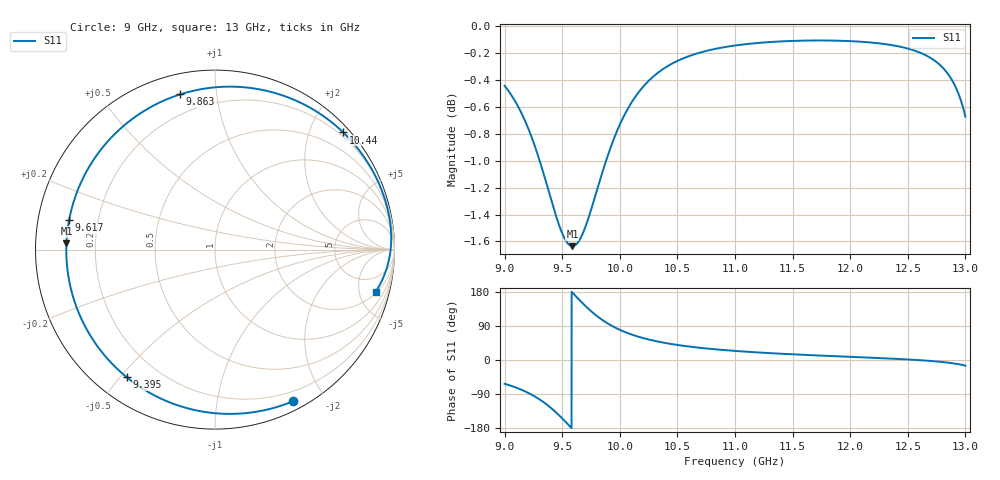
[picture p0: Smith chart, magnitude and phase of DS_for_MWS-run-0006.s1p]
! TOUCHSTONE file generated by CST DESIGN STUDIO
! Date and time: Tue Feb  4 18:13:26 2025
! Project name: C:\Work\MatlabApps\UnitCellOptimizationMatlab\CST\unitcell.cst
! Tree item: Tasks\Sweep1\SPara1\S-Parameters
! Header version: 2024
! Port assignment regex: !\s*Touchstone port\s*([0-9]+)\s*=\s*(CST MWS port|CST DES external port|CST DES block port)\s*(.+)\s* \(\"(.*)\"\)(\s*mode\s*([0-9]+))?.*
! Touchstone port assignment:
! Touchstone port 1 = CST DES external port 1 ("")
# GHz S MA R 50
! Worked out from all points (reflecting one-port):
!   4001 points, 9 GHz to 13 GHz, reference 50 ohm
!   lowest |S11| = -1.6 dB at 9.589 GHz (marker M1), VSWR 10.66, Z = 4.69 + j1.03 ohm
!   phase of S11 starts at -63 deg and turns -312 deg over the sweep
!   S11 on the Smith chart (normalised r, x): 9 GHz: 0.09, -1.64; 9.395 GHz: 0.09, -0.52; 9.617 GHz: 0.09, +0.10; 9.863 GHz: 0.10, +0.80; 10.44 GHz: 0.12, +2.57; 13 GHz: 2.15, -7.06
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9  0.9502 -62.7
9.118  0.9333 -75.0
9.239  0.9083 -92.2
9.321  0.8865 -107.6
9.395  0.8647 -124.6
9.446  0.8502 -138.2
9.5  0.8376 -154.1
9.545  0.8308 -168.2
9.589  0.8284 177.6
9.617  0.8294 168.6
9.674  0.8366 150.7
9.742  0.8523 131.1
9.801  0.8688 116.1
9.863  0.8864 102.6
9.926  0.9028 91.0
10  0.9191 79.6
10.094  0.9356 68.1
10.196  0.9487 58.4
10.311  0.9594 49.9
10.442  0.9678 42.4
10.5  0.9706 39.7
10.72  0.9782 31.4
11  0.9835 23.9
11.5  0.9874 15.0
12  0.9872 8.4
12.5  0.981 1.4
12.794  0.966 -5.1
13  0.9254 -14.8
